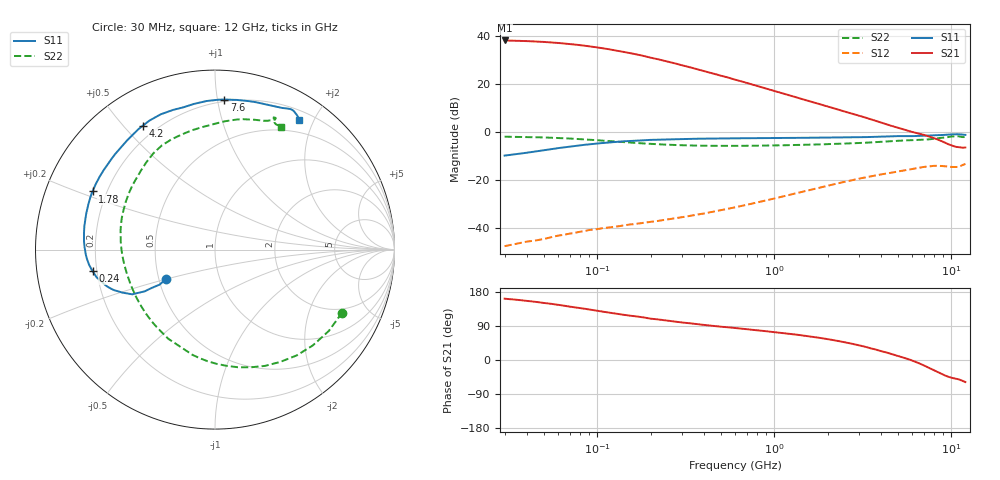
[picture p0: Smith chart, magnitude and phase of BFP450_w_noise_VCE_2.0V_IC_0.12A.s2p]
! (c) 2015  Infineon Technologies AG, Munich
! Infineon Technologies  Discrete & RF Semiconductors
! BFP450
! VCE =  2.0 V,  IC = 0.12 A
! Common Emitter S-Parameters:  Nov 2015
# GHz  S  MA  R  50
!  f  S11  S21  S12  S22
! GHz  MAG  ANG  MAG  ANG  MAG  ANG  MAG  ANG
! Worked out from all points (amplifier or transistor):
!   239 points, 30 MHz to 12 GHz, reference 50 ohm
!   highest |S21| = 38.1 dB at 30 MHz (marker M1)
!   |S21| within 3 dB of that: start of sweep to 102 MHz
!   unconditionally stable (mu >= 1): 796 MHz to end of sweep
!   at 300 MHz: K = 0.76, MSG = 31.7 dB, |S12| = -35.7 dB
!   at 1.88 GHz: K = 1.09, MAG = 15.2 dB, |S12| = -23.0 dB
!   at 12 GHz: K = 1.08, MAG = 1.7 dB, |S12| = -13.4 dB
!   lowest NFmin = 2.31 dB at 450 MHz
!   S11 on the Smith chart (normalised r, x): 30 MHz: 0.55, -0.20; 240 MHz: 0.18, -0.09; 1.78 GHz: 0.15, +0.22; 4.2 GHz: 0.15, +0.57; 7.6 GHz: 0.19, +1.05; 12 GHz: 0.32, +1.80
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0.03  0.3184 -149.1  80.66 161.8  0.0041 81.2  0.7906 -26.4
0.04  0.3655 -147.7  78.21 156.1  0.0051 76.9  0.7795 -35.5
0.05  0.4124 -148.8  75.16 150.5  0.0058 72.4  0.7632 -44.3
0.06  0.4559 -149.3  71.57 145.7  0.0068 68.2  0.7449 -52.3
0.07  0.4912 -150.6  67.92 140.8  0.0075 65.3  0.7238 -59.8
0.085  0.5356 -152.6  62.68 135.2  0.0085 63.0  0.6941 -69.9
0.11  0.5874 -156.7  54.76 126.9  0.0099 59.0  0.6509 -84.3
0.13  0.617 -159.2  49.21 121.7  0.0106 57.9  0.623 -93.9
0.15  0.6416 -162.0  44.47 117.4  0.0115 57.2  0.5999 -102.0
0.2  0.6779 -166.9  35.27 109.1  0.0132 56.1  0.5608 -117.7
0.24  0.6915 -169.9  30.31 104.8  0.0145 56.5  0.5409 -126.6
0.3  0.7074 -173.3  24.53 99.1  0.0164 57.7  0.5247 -137.4
0.36  0.7159 -176.1  20.63 95.1  0.0184 58.8  0.5157 -145.0
0.45  0.7235 -179.5  16.48 90.1  0.0214 60.4  0.5098 -153.6
0.6  0.7315 176.3  12.26 84.2  0.0265 61.9  0.5088 -163.3
1  0.7405 167.8  7.111 73.6  0.0405 62.1  0.5198 -178.6
1.64  0.7535 156.9  4.184 61.3  0.0629 57.1  0.5403 166.2
1.78  0.7553 154.6  3.827 58.8  0.0675 55.7  0.5445 163.4
4.2  0.799 120.1  1.478 21.1  0.1326 27.4  0.6255 125.9
4.5  0.8063 116.9  1.359 17.0  0.1387 24.4  0.6373 122.5
7.6  0.8377 86.5  0.785 -22.4  0.1916 -9.1  0.7 90.4
12  0.8636 57.0  0.47 -58.2  0.2136 -41.1  0.7774 61.7
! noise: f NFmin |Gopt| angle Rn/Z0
0.45  2.31  0.66  -172  0.07
0.9  2.37  0.69  -166  0.09
1.9  2.46  0.7  -149  0.19
2.4  2.55  0.7  -139  0.27
